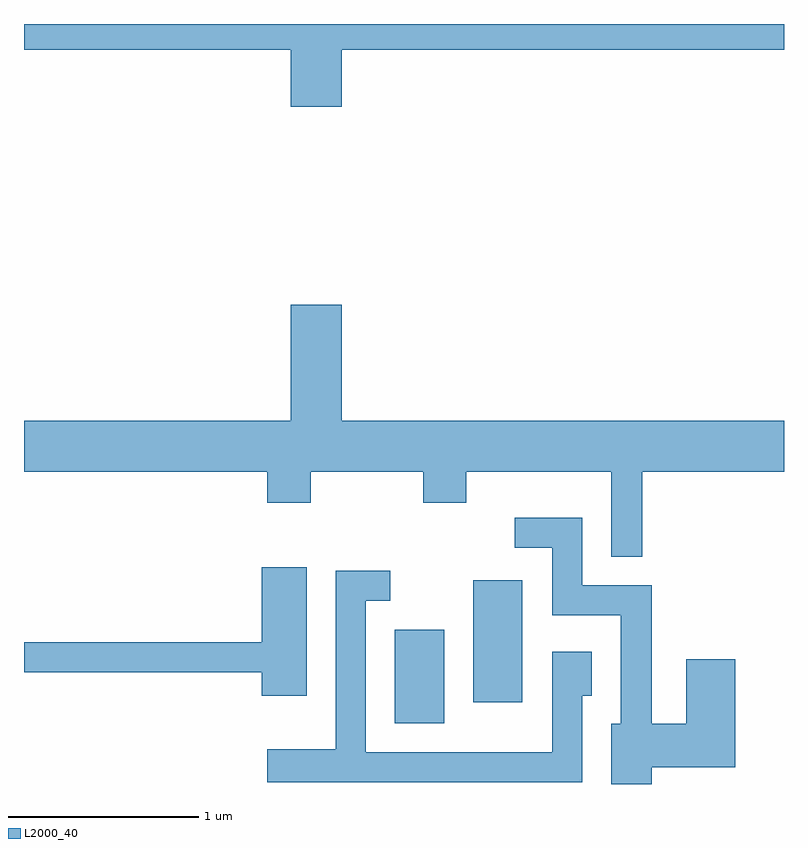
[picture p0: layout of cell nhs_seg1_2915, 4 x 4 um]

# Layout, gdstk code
import gdstk
lib = gdstk.Library(unit=1e-6, precision=1e-09)
def R(c, l, rs):  # rectangles x0, y0, x1, y1
    for r in rs: c.add(gdstk.rectangle(r[:2], r[2:], *l))
def P(c, l, *ps):  # polygons
    for p in ps: c.add(gdstk.Polygon(p, *l))
L2000_40 = (2000, 40)

nhs_seg1_2915 = lib.new_cell('nhs_seg1_2915')
R(nhs_seg1_2915, L2000_40, [(275.561,896.031,275.824,896.524), (275.976,896.141,276.234,896.784)])
P(nhs_seg1_2915, L2000_40, [(275.284,899.576),(277.611,899.576),(277.611,899.712),(273.611,899.712),(273.611,899.576),(275.016,899.576),(275.016,899.276),(275.284,899.276)],
  [(276.864,897.356),(277.611,897.356),(277.611,897.624),(275.284,897.624),(275.284,898.234),(275.016,898.234),(275.016,897.624),(273.611,897.624),(273.611,897.356),(274.891,897.356),(274.891,897.191),(275.119,897.191),(275.119,897.356),(275.711,897.356),(275.711,897.191),(275.939,897.191),(275.939,897.356),(276.701,897.356),(276.701,896.908),(276.864,896.908)],
  [(276.914,895.801),(277.354,895.801),(277.354,896.369),(277.096,896.369),(277.096,896.029),(276.914,896.029),(276.914,896.759),(276.549,896.759),(276.549,897.114),(276.193,897.114),(276.193,896.956),(276.391,896.956),(276.391,896.601),(276.751,896.601),(276.751,896.029),(276.701,896.029),(276.701,895.712),(276.914,895.712)],
  [(275.099,896.854),(274.861,896.854),(274.861,896.459),(273.611,896.459),(273.611,896.301),(274.861,896.301),(274.861,896.176),(275.099,896.176)],
  [(276.549,896.176),(276.599,896.176),(276.599,896.409),(276.391,896.409),(276.391,895.879),(275.409,895.879),(275.409,896.676),(275.538,896.676),(275.538,896.834),(275.251,896.834),(275.251,895.894),(274.891,895.894),(274.891,895.721),(276.549,895.721)])

lib.write_gds('nhs_seg1_2915.gds')
